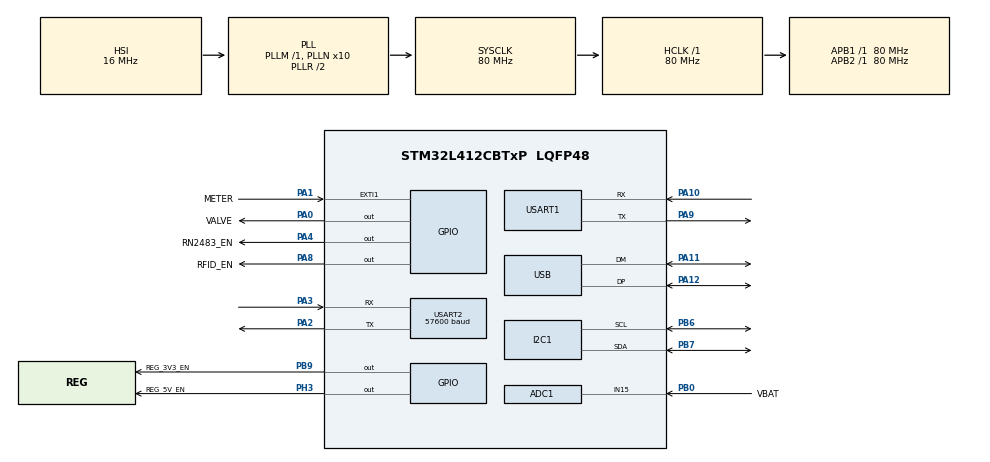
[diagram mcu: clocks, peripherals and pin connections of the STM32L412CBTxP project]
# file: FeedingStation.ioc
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ADC1.Channel-0\#ChannelRegularConversion=ADC_CHANNEL_15
ADC1.NbrOfConversionFlag=1
ADC1.OffsetNumber-0\#ChannelRegularConversion=ADC_OFFSET_NONE
ADC1.Rank-0\#ChannelRegularConversion=1
ADC1.SamplingTime-0\#ChannelRegularConversion=ADC_SAMPLETIME_2CYCLES_5
ADC1.master=1
FREERTOS.Tasks01=defaultTask,24,128,StartDefaultTask,Default,NULL,Dynamic,NULL,NULL
FREERTOS.configTOTAL_HEAP_SIZE=16384
I2C1.Timing=0x10909CEC
Mcu.Family=STM32L4
Mcu.Name=STM32L412CBTxP
Mcu.Package=LQFP48
NVIC.EXTI1_IRQn=true\:5\:0\:false\:false\:true\:true\:true\:true\:true
NVIC.PriorityGroup=NVIC_PRIORITYGROUP_4
NVIC.TIM1_UP_TIM16_IRQn=true\:15\:0\:false\:false\:true\:false\:false\:true\:true
NVIC.TimeBase=TIM1_UP_TIM16_IRQn
NVIC.TimeBaseIP=TIM16
NVIC.USART1_IRQn=true\:5\:0\:false\:false\:true\:true\:true\:true\:true
NVIC.USART2_IRQn=true\:5\:0\:false\:false\:true\:true\:true\:true\:true
NVIC.USB_IRQn=true\:5\:0\:false\:false\:true\:true\:false\:true\:true
PA0.GPIO_Label=VALVE
PA0.Signal=GPIO_Output
PA1.GPIO_Label=METER
PA1.Signal=GPXTI1
PA10.Mode=Asynchronous
PA10.Signal=USART1_RX
PA11.Mode=Device
PA11.Signal=USB_DM
PA12.Mode=Device
PA12.Signal=USB_DP
PA2.Mode=Asynchronous
PA2.Signal=USART2_TX
PA3.Mode=Asynchronous
PA3.Signal=USART2_RX
PA4.GPIO_Label=RN2483_EN
PA4.Signal=GPIO_Output
PA8.GPIO_Label=RFID_EN
PA8.Signal=GPIO_Output
PA9.Mode=Asynchronous
PA9.Signal=USART1_TX
PB0.GPIO_Label=VBAT
PB0.Signal=ADCx_IN15
PB6.Mode=I2C
PB6.Signal=I2C1_SCL
PB7.Mode=I2C
PB7.Signal=I2C1_SDA
PB9.GPIO_Label=REG_3V3_EN
PB9.Signal=GPIO_Output
PH3-BOOT0\ (BOOT0).GPIO_Label=REG_5V_EN
PH3-BOOT0\ (BOOT0).Signal=GPIO_Output
ProjectManager.HeapSize=0x600
ProjectManager.StackSize=0x600
ProjectManager.TargetToolchain=STM32CubeIDE
RCC.ADCFreq_Value=80000000
RCC.AHBFreq_Value=80000000
RCC.APB1Freq_Value=80000000
RCC.APB1TimFreq_Value=80000000
RCC.APB2Freq_Value=80000000
RCC.APB2TimFreq_Value=80000000
RCC.CK48CLockSelection=RCC_USBCLKSOURCE_HSI48
RCC.CortexFreq_Value=80000000
RCC.HCLKFreq_Value=80000000
RCC.HSE_VALUE=8000000
RCC.HSI48_VALUE=48000000
RCC.HSI_VALUE=16000000
RCC.LSE_VALUE=32768
RCC.MSI_VALUE=4000000
RCC.PLLN=10
RCC.PLLSourceVirtual=RCC_PLLSOURCE_HSI
RCC.SYSCLKFreq_VALUE=80000000
RCC.SYSCLKSource=RCC_SYSCLKSOURCE_PLLCLK
RCC.USBFreq_Value=48000000
RCC.VCOOutputFreq_Value=160000000
SH.ADCx_IN15.0=ADC1_IN15,IN15-Single-Ended
USART1.VirtualMode-Asynchronous=VM_ASYNC
USART2.BaudRate=57600
USART2.VirtualMode-Asynchronous=VM_ASYNC
USB_DEVICE.CLASS_NAME_FS=CDC
USB_DEVICE.VirtualMode=Cdc
USB_DEVICE.VirtualModeFS=Cdc_FS
VP_FREERTOS_VS_CMSIS_V2.Mode=CMSIS_V2
VP_SYS_VS_tim16.Mode=TIM16
VP_USB_DEVICE_VS_USB_DEVICE_CDC_FS.Mode=CDC_FS
board=custom

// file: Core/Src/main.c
/* USER CODE BEGIN Header */
/**
  ******************************************************************************
  * @file           : main.c
  * @brief          : Main program body
  ******************************************************************************
  * @attention
  *
  * Copyright (c) 2023 STMicroelectronics.
  * All rights reserved.
  *
  * This software is licensed under terms that can be found in the LICENSE file
  * in the root directory of this software component.
  * If no LICENSE file comes with this software, it is provided AS-IS.
  *
  ******************************************************************************
  */
/* USER CODE END Header */
#include "main.h"
#include "cmsis_os.h"
#include "adc.h"
#include "i2c.h"
#include "usart.h"
#include "usb_device.h"
#include "gpio.h"

void SystemClock_Config(void);
void MX_FREERTOS_Init(void);

int main(void)
{

  /* MCU Configuration--------------------------------------------------------*/

  /* Reset of all peripherals, Initializes the Flash interface and the Systick. */
  HAL_Init();

  /* Configure the system clock */
  SystemClock_Config();

  /* Initialize all configured peripherals */
  MX_GPIO_Init();
  MX_ADC1_Init();
  MX_I2C1_Init();
  MX_USART1_UART_Init();
  MX_USART2_UART_Init();

  /* Init scheduler */
  osKernelInitialize();

  /* Call init function for freertos objects (in freertos.c) */
  MX_FREERTOS_Init();

  /* Start scheduler */
  osKernelStart();

  /* We should never get here as control is now taken by the scheduler */
  /* Infinite loop */
  while (1)
  {

  }
}

void SystemClock_Config(void)
{
  RCC_OscInitTypeDef RCC_OscInitStruct = {0};
  RCC_ClkInitTypeDef RCC_ClkInitStruct = {0};

  /** Configure the main internal regulator output voltage
  */
  if (HAL_PWREx_ControlVoltageScaling(PWR_REGULATOR_VOLTAGE_SCALE1) != HAL_OK)
  {
    Error_Handler();
  }

  /** Initializes the RCC Oscillators according to the specified parameters
  * in the RCC_OscInitTypeDef structure.
  */
  RCC_OscInitStruct.OscillatorType = RCC_OSCILLATORTYPE_HSI48|RCC_OSCILLATORTYPE_HSI;
  RCC_OscInitStruct.HSIState = RCC_HSI_ON;
  RCC_OscInitStruct.HSI48State = RCC_HSI48_ON;
  RCC_OscInitStruct.HSICalibrationValue = RCC_HSICALIBRATION_DEFAULT;
  RCC_OscInitStruct.PLL.PLLState = RCC_PLL_ON;
  RCC_OscInitStruct.PLL.PLLSource = RCC_PLLSOURCE_HSI;
  RCC_OscInitStruct.PLL.PLLM = 1;
  RCC_OscInitStruct.PLL.PLLN = 10;
  RCC_OscInitStruct.PLL.PLLQ = RCC_PLLQ_DIV2;
  RCC_OscInitStruct.PLL.PLLR = RCC_PLLR_DIV2;
  if (HAL_RCC_OscConfig(&RCC_OscInitStruct) != HAL_OK)
  {
    Error_Handler();
  }

  /** Initializes the CPU, AHB and APB buses clocks
  */
  RCC_ClkInitStruct.ClockType = RCC_CLOCKTYPE_HCLK|RCC_CLOCKTYPE_SYSCLK
                              |RCC_CLOCKTYPE_PCLK1|RCC_CLOCKTYPE_PCLK2;
  RCC_ClkInitStruct.SYSCLKSource = RCC_SYSCLKSOURCE_PLLCLK;
  RCC_ClkInitStruct.AHBCLKDivider = RCC_SYSCLK_DIV1;
  RCC_ClkInitStruct.APB1CLKDivider = RCC_HCLK_DIV1;
  RCC_ClkInitStruct.APB2CLKDivider = RCC_HCLK_DIV1;

  if (HAL_RCC_ClockConfig(&RCC_ClkInitStruct, FLASH_LATENCY_4) != HAL_OK)
  {
    Error_Handler();
  }
}

void HAL_TIM_PeriodElapsedCallback(TIM_HandleTypeDef *htim)
{
  if (htim->Instance == TIM16) {
    HAL_IncTick();
  }
}

void Error_Handler(void)
{
  __disable_irq();
  while (1)
  {
  }
}

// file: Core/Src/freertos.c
/* USER CODE BEGIN Header */
/**
  ******************************************************************************
  * File Name          : freertos.c
  * Description        : Code for freertos applications
  ******************************************************************************
  * @attention
  *
  * Copyright (c) 2023 STMicroelectronics.
  * All rights reserved.
  *
  * This software is licensed under terms that can be found in the LICENSE file
  * in the root directory of this software component.
  * If no LICENSE file comes with this software, it is provided AS-IS.
  *
  ******************************************************************************
  */
/* USER CODE END Header */

#include "FreeRTOS.h"
#include "task.h"
#include "main.h"
#include "cmsis_os.h"

/* USER CODE BEGIN Includes */
#include <stdio.h>
#include <sys/errno.h>
#include "FreeRTOS.h"
#include "task.h"
#include "main.h"
#include "cmsis_os.h"
#include "../../User/LoRa/oswrapper/inc/oswrapper.h"
#include "../../User/LoRa/mac/client/inc/mac_client.h"
#include "usbd_cdc.h"
#include "../../User/LoRa/network/client/inc/network_client.h"
#include "../../User/LoRa/app/common/inc/app_types.h"
#include "../../User/yrm100x/inc/yrm100x_types.h"
#include "../../User/yrm100x/inc/yrm100x.h"
#include "usart.h"
#include "../../User/RFID/inc/rfid.h"
#include "../../User/FSM/inc/fsm.h"
/* USER CODE END Includes */

/* USER CODE BEGIN Variables */
extern USBD_HandleTypeDef hUsbDeviceFS;
/* USER CODE END Variables */
/* Definitions for defaultTask */
osThreadId_t defaultTaskHandle;
const osThreadAttr_t defaultTask_attributes = {
  .name = "defaultTask",
  .stack_size = 128 * 8,
  .priority = 28,
};

void StartDefaultTask(void *argument);

extern void MX_USB_DEVICE_Init(void);
void MX_FREERTOS_Init(void); /* (MISRA C 2004 rule 8.1) */

void MX_FREERTOS_Init(void) {

  /* Create the thread(s) */
  /* creation of defaultTask */
  defaultTaskHandle = osThreadNew(StartDefaultTask, NULL, &defaultTask_attributes);

}

void StartDefaultTask(void *argument)
{
  /* init code for USB_DEVICE */
    MX_USB_DEVICE_Init();
  /* USER CODE BEGIN StartDefaultTask */
    HAL_GPIO_WritePin(REG_3V3_EN_GPIO_Port, REG_3V3_EN_Pin, GPIO_PIN_SET);
    HAL_GPIO_WritePin(REG_5V_EN_GPIO_Port, REG_5V_EN_Pin, GPIO_PIN_SET);
    HAL_GPIO_WritePin(RFID_EN_GPIO_Port, RFID_EN_Pin, GPIO_PIN_SET);

    THREAD_SLEEP_FOR(SYSTEM_TICK_FROM_MS(1000));
    printf("App Started\n");
    THREAD_SLEEP_FOR(SYSTEM_TICK_FROM_MS(1000));

    fsm_init();
    fsm_run();

  /* USER CODE END StartDefaultTask */
}

/* USER CODE BEGIN Application */
int _write(int file, char *ptr, int len)
{
    USBD_CDC_SetTxBuffer(&hUsbDeviceFS, (uint8_t *) ptr, len);
    USBD_CDC_TransmitPacket(&hUsbDeviceFS);
    return len;
}
/* USER CODE END Application */
